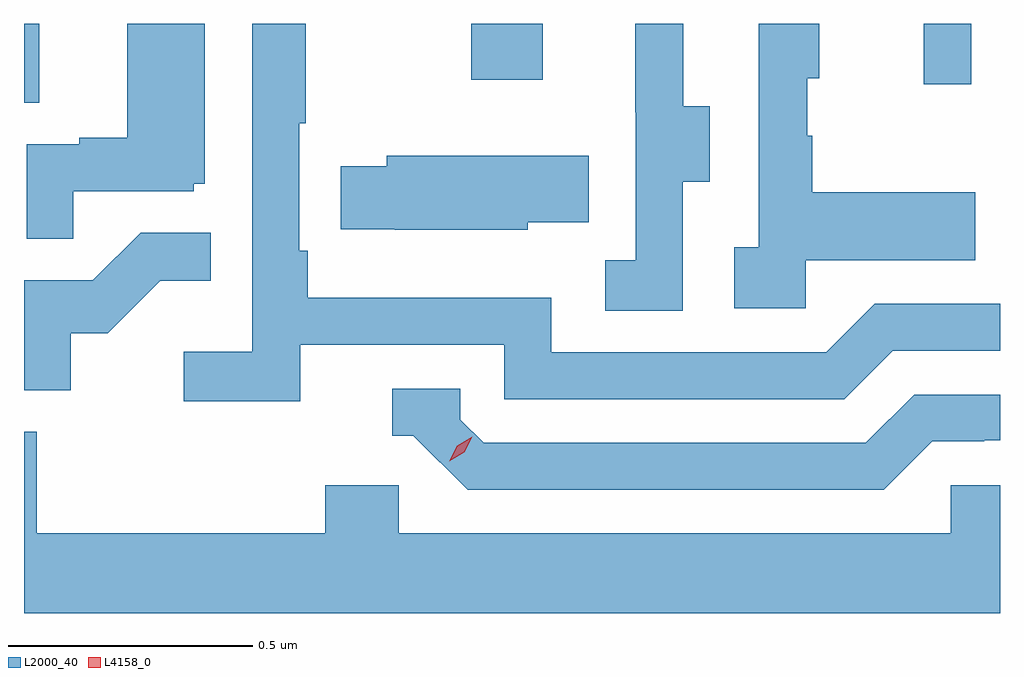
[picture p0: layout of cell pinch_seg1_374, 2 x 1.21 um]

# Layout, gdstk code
import gdstk
lib = gdstk.Library(unit=1e-6, precision=1e-09)
def R(c, l, rs):  # rectangles x0, y0, x1, y1
    for r in rs: c.add(gdstk.rectangle(r[:2], r[2:], *l))
def P(c, l, *ps):  # polygons
    for p in ps: c.add(gdstk.Polygon(p, *l))
L2000_40 = (2000, 40)
L4158_0 = (4158, 0)

pinch_seg1_374 = lib.new_cell('pinch_seg1_374')
R(pinch_seg1_374, L2000_40, [(957.006,531.466,957.037,531.628), (958.85,531.504,958.947,531.628), (957.922,531.513,958.069,531.628)])
P(pinch_seg1_374, L2000_40, [(957.572,530.97),(957.99,530.97),(957.99,530.859),(958.687,530.859),(958.786,530.958),(959.006,530.958),(959.006,531.054),(958.749,531.054),(958.65,530.955),(958.086,530.955),(958.086,531.067),(957.587,531.067),(957.587,531.163),(957.57,531.163),(957.57,531.424),(957.583,531.424),(957.583,531.628),(957.474,531.628),(957.474,530.956),(957.333,530.956),(957.333,530.854),(957.572,530.854)],
  [(958.356,531.304),(958.411,531.304),(958.411,531.459),(958.357,531.459),(958.357,531.628),(958.259,531.628),(958.259,531.447),(958.26,531.447),(958.26,531.143),(958.197,531.143),(958.197,531.04),(958.356,531.04)],
  [(958.608,531.143),(958.955,531.143),(958.955,531.283),(958.621,531.283),(958.621,531.398),(958.611,531.398),(958.611,531.516),(958.636,531.516),(958.636,531.628),(958.512,531.628),(958.512,531.17),(958.461,531.17),(958.461,531.045),(958.608,531.045)],
  [(957.107,531.285),(957.354,531.285),(957.354,531.3),(957.376,531.3),(957.376,531.628),(957.218,531.628),(957.218,531.394),(957.119,531.394),(957.119,531.381),(957.012,531.381),(957.012,531.187),(957.107,531.187)],
  [(958.038,531.221),(958.163,531.221),(958.163,531.358),(957.749,531.358),(957.749,531.336),(957.655,531.336),(957.655,531.207),(957.766,531.207),(957.766,531.206),(958.038,531.206)],
  [(957.102,530.994),(957.178,530.994),(957.285,531.101),(957.389,531.101),(957.389,531.2),(957.245,531.2),(957.147,531.102),(957.006,531.102),(957.006,530.877),(957.102,530.877)],
  [(958.867,530.772),(958.974,530.772),(958.974,530.775),(959.006,530.775),(959.006,530.868),(958.83,530.868),(958.731,530.769),(957.948,530.769),(957.9,530.817),(957.9,530.88),(957.761,530.88),(957.761,530.784),(957.804,530.784),(957.915,530.673),(958.768,530.673)],
  [(959.006,530.682),(958.905,530.682),(958.905,530.584),(957.774,530.584),(957.774,530.682),(957.623,530.682),(957.623,530.584),(957.032,530.584),(957.032,530.792),(957.006,530.792),(957.006,530.42),(959.006,530.42)])
P(pinch_seg1_374, L4158_0, [(957.877,530.731),(957.877,530.731),(957.894,530.763),(957.925,530.782),(957.925,530.782),(957.925,530.782),(957.908,530.75),(957.877,530.731)])

lib.write_gds('pinch_seg1_374.gds')
